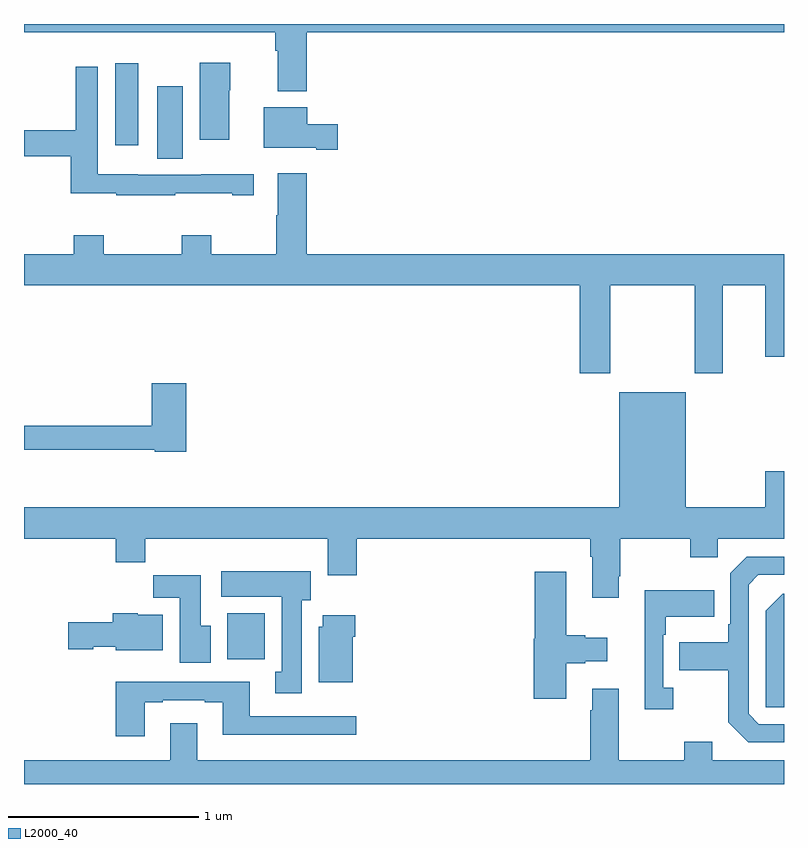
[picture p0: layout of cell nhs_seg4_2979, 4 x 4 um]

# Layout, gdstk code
import gdstk
lib = gdstk.Library(unit=1e-6, precision=1e-09)
def R(c, l, rs):  # rectangles x0, y0, x1, y1
    for r in rs: c.add(gdstk.rectangle(r[:2], r[2:], *l))
def P(c, l, *ps):  # polygons
    for p in ps: c.add(gdstk.Polygon(p, *l))
L2000_40 = (2000, 40)

nhs_seg4_2979 = lib.new_cell('nhs_seg4_2979')
R(nhs_seg4_2979, L2000_40, [(270.071,757.556,270.268,757.798), (269.702,760.192,269.836,760.573), (269.48,760.263,269.602,760.693)])
P(nhs_seg4_2979, L2000_40, [(269,760.856),(270.323,760.856),(270.323,760.76),(270.335,760.76),(270.335,760.547),(270.488,760.547),(270.488,760.856),(273,760.856),(273,760.9),(269,760.9)],
  [(270.079,760.551),(270.085,760.551),(270.085,760.696),(269.924,760.696),(269.924,760.29),(270.079,760.29)],
  [(269.795,760.009),(270.095,760.009),(270.095,759.999),(270.208,759.999),(270.208,760.109),(269.932,760.109),(269.932,760.107),(269.598,760.107),(269.598,760.108),(269.388,760.108),(269.388,760.675),(269.272,760.675),(269.272,760.34),(269,760.34),(269,760.204),(269.246,760.204),(269.246,760.009),(269.485,760.009),(269.485,759.999),(269.795,759.999)],
  [(270.652,760.372),(270.49,760.372),(270.49,760.462),(270.263,760.462),(270.263,760.25),(270.539,760.25),(270.539,760.238),(270.652,760.238)],
  [(272.085,759.524),(272.53,759.524),(272.53,759.063),(272.677,759.063),(272.677,759.524),(272.9,759.524),(272.9,759.15),(273,759.15),(273,759.688),(270.488,759.688),(270.488,760.114),(270.335,760.114),(270.335,759.893),(270.328,759.893),(270.328,759.688),(269.985,759.688),(269.985,759.787),(269.83,759.787),(269.83,759.688),(269.421,759.688),(269.421,759.787),(269.261,759.787),(269.261,759.688),(269,759.688),(269,759.524),(271.925,759.524),(271.925,759.063),(272.085,759.063)],
  [(269.855,759.01),(269.672,759.01),(269.672,758.786),(269,758.786),(269,758.658),(269.688,758.658),(269.688,758.65),(269.855,758.65)],
  [(272.131,757.993),(272.139,757.993),(272.139,758.192),(272.506,758.192),(272.506,758.093),(272.652,758.093),(272.652,758.192),(273,758.192),(273,758.545),(272.9,758.545),(272.9,758.356),(272.482,758.356),(272.482,758.962),(272.132,758.962),(272.132,758.356),(269,758.356),(269,758.192),(269.483,758.192),(269.483,758.068),(269.639,758.068),(269.639,758.192),(270.599,758.192),(270.599,757.998),(270.752,757.998),(270.752,758.192),(271.979,758.192),(271.979,758.096),(271.991,758.096),(271.991,757.881),(272.131,757.881)],
  [(273,757.215),(272.868,757.215),(272.814,757.269),(272.814,757.95),(272.865,758.001),(273,758.001),(273,758.097),(272.805,758.097),(272.718,758.01),(272.718,757.741),(272.706,757.741),(272.706,757.645),(272.449,757.645),(272.449,757.498),(272.706,757.498),(272.706,757.225),(272.811,757.119),(273,757.119)],
  [(270.463,757.866),(270.508,757.866),(270.508,758.02),(270.039,758.02),(270.039,757.886),(270.356,757.886),(270.356,757.49),(270.323,757.49),(270.323,757.377),(270.463,757.377)],
  [(271.855,757.535),(271.955,757.535),(271.955,757.547),(272.071,757.547),(272.071,757.669),(271.955,757.669),(271.955,757.682),(271.855,757.682),(271.855,758.017),(271.688,758.017),(271.688,757.665),(271.682,757.665),(271.682,757.35),(271.855,757.35)],
  [(269.983,757.732),(269.929,757.732),(269.929,757.999),(269.68,757.999),(269.68,757.88),(269.819,757.88),(269.819,757.539),(269.983,757.539)],
  [(272.416,757.406),(272.364,757.406),(272.364,757.685),(272.377,757.685),(272.377,757.781),(272.633,757.781),(272.633,757.921),(272.267,757.921),(272.267,757.293),(272.416,757.293)],
  [(273,757.902),(272.994,757.902),(272.904,757.812),(272.904,757.305),(273,757.305)],
  [(269.731,757.792),(269.598,757.792),(269.598,757.798),(269.468,757.798),(269.468,757.752),(269.232,757.752),(269.232,757.61),(269.364,757.61),(269.364,757.622),(269.484,757.622),(269.484,757.604),(269.731,757.604)],
  [(270.73,757.676),(270.743,757.676),(270.743,757.789),(270.572,757.789),(270.572,757.728),(270.551,757.728),(270.551,757.436),(270.73,757.436)],
  [(269.635,757.329),(269.731,757.329),(269.731,757.341),(269.951,757.341),(269.951,757.329),(270.047,757.329),(270.047,757.16),(270.748,757.16),(270.748,757.257),(270.187,757.257),(270.187,757.437),(269.723,757.437),(269.723,757.438),(269.483,757.438),(269.483,757.152),(269.635,757.152)],
  [(273,757.024),(272.623,757.024),(272.623,757.123),(272.476,757.123),(272.476,757.024),(272.131,757.024),(272.131,757.402),(271.991,757.402),(271.991,757.289),(271.979,757.289),(271.979,757.024),(269.911,757.024),(269.911,757.219),(269.771,757.219),(269.771,757.024),(269,757.024),(269,756.9),(273,756.9)])

lib.write_gds('nhs_seg4_2979.gds')
